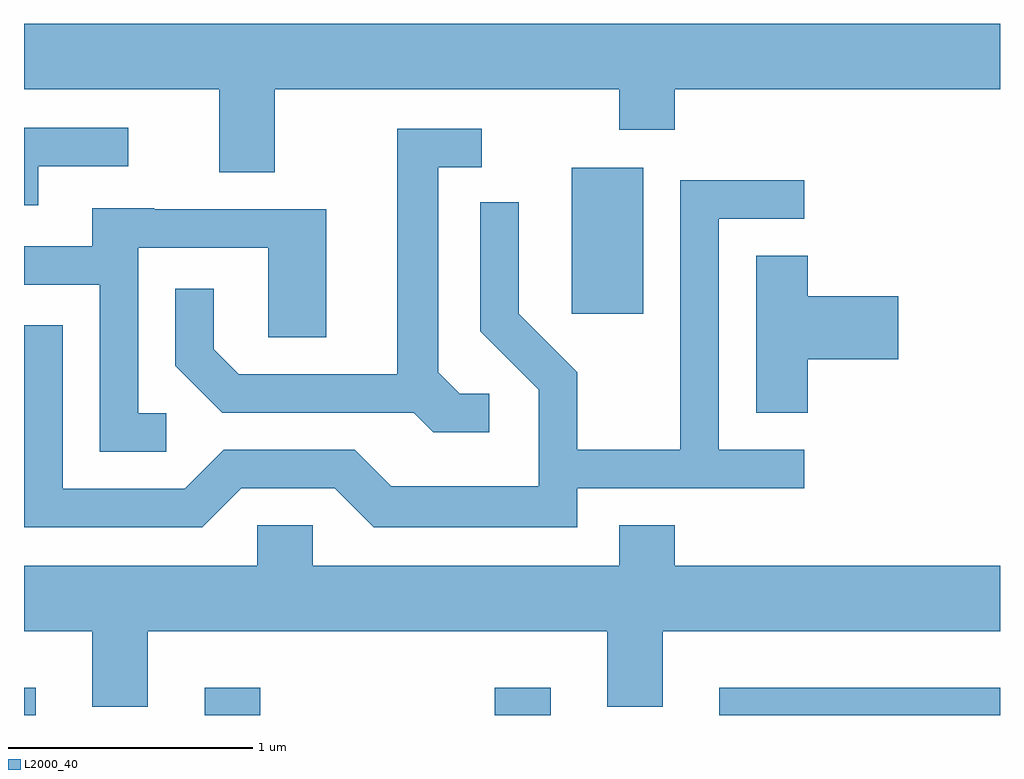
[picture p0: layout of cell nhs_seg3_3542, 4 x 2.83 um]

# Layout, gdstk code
import gdstk
lib = gdstk.Library(unit=1e-6, precision=1e-09)
def R(c, l, rs):  # rectangles x0, y0, x1, y1
    for r in rs: c.add(gdstk.rectangle(r[:2], r[2:], *l))
def P(c, l, *ps):  # polygons
    for p in ps: c.add(gdstk.Polygon(p, *l))
L2000_40 = (2000, 40)

nhs_seg3_3542 = lib.new_cell('nhs_seg3_3542')
R(nhs_seg3_3542, L2000_40, [(289.611,1127.892,289.659,1128.004), (290.351,1127.892,290.579,1128.004), (291.541,1127.892,291.769,1128.004), (292.461,1127.892,293.611,1128.004), (291.856,1129.536,292.149,1130.134)])
P(nhs_seg3_3542, L2000_40, [(290.639,1130.456),(292.051,1130.456),(292.051,1130.291),(292.279,1130.291),(292.279,1130.456),(293.611,1130.456),(293.611,1130.724),(289.611,1130.724),(289.611,1130.456),(290.411,1130.456),(290.411,1130.116),(290.639,1130.116)],
  [(289.669,1130.141),(290.038,1130.141),(290.038,1130.299),(289.611,1130.299),(289.611,1129.981),(289.669,1129.981)],
  [(291.518,1129.209),(291.397,1129.209),(291.309,1129.297),(291.309,1130.136),(291.488,1130.136),(291.488,1130.294),(291.141,1130.294),(291.141,1129.289),(290.492,1129.289),(290.389,1129.392),(290.389,1129.638),(290.231,1129.638),(290.231,1129.324),(290.424,1129.131),(291.209,1129.131),(291.289,1129.051),(291.518,1129.051)],
  [(290.502,1128.821),(290.884,1128.821),(291.044,1128.661),(291.879,1128.661),(291.879,1128.821),(292.808,1128.821),(292.808,1128.979),(292.459,1128.979),(292.459,1129.926),(292.808,1129.926),(292.808,1130.084),(292.301,1130.084),(292.301,1128.979),(291.879,1128.979),(291.879,1129.297),(291.639,1129.537),(291.639,1129.993),(291.481,1129.993),(291.481,1129.464),(291.721,1129.224),(291.721,1128.829),(291.117,1128.829),(290.967,1128.979),(290.429,1128.979),(290.269,1128.819),(289.769,1128.819),(289.769,1129.489),(289.611,1129.489),(289.611,1128.661),(290.342,1128.661)],
  [(290.193,1129.129),(290.079,1129.129),(290.079,1129.806),(290.611,1129.806),(290.611,1129.441),(290.849,1129.441),(290.849,1129.964),(290.145,1129.964),(290.145,1129.969),(289.891,1129.969),(289.891,1129.814),(289.611,1129.814),(289.611,1129.656),(289.921,1129.656),(289.921,1128.971),(290.193,1128.971)],
  [(292.824,1129.351),(293.194,1129.351),(293.194,1129.609),(292.824,1129.609),(292.824,1129.774),(292.611,1129.774),(292.611,1129.131),(292.824,1129.131)],
  [(290.119,1128.236),(292.001,1128.236),(292.001,1127.926),(292.229,1127.926),(292.229,1128.236),(293.611,1128.236),(293.611,1128.504),(292.279,1128.504),(292.279,1128.669),(292.051,1128.669),(292.051,1128.504),(290.794,1128.504),(290.794,1128.669),(290.566,1128.669),(290.566,1128.504),(289.611,1128.504),(289.611,1128.236),(289.891,1128.236),(289.891,1127.926),(290.119,1127.926)])

lib.write_gds('nhs_seg3_3542.gds')
